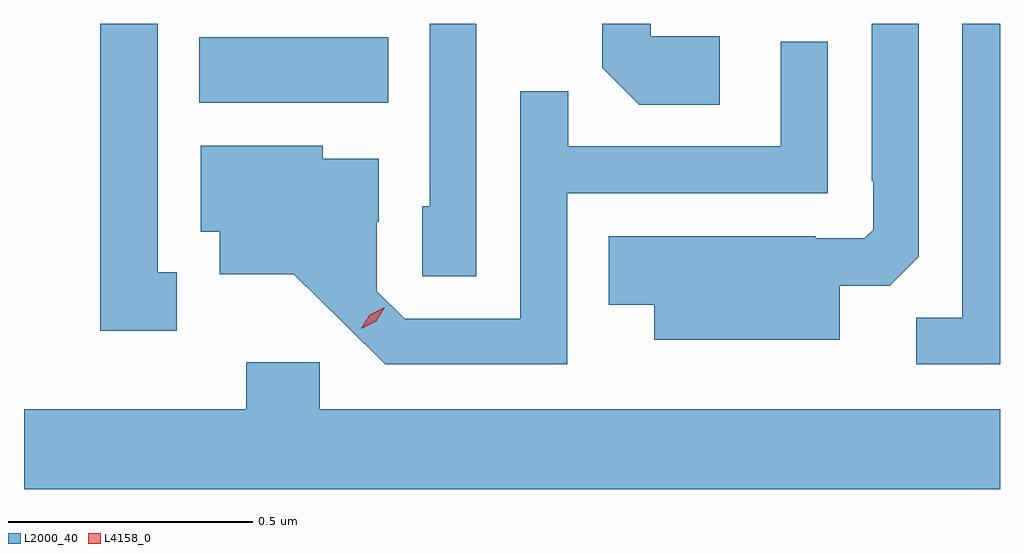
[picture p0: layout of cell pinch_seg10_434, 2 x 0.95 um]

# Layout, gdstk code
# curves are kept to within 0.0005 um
import gdstk
lib = gdstk.Library(unit=1e-6, precision=1e-09)
def R(c, l, rs):  # rectangles x0, y0, x1, y1
    for r in rs: c.add(gdstk.rectangle(r[:2], r[2:], *l))
def P(c, l, *ps):  # polygons
    for p in ps: c.add(gdstk.Polygon(p, *l))
L2000_40 = (2000, 40)
L4158_0 = (4158, 0)

pinch_seg10_434 = lib.new_cell('pinch_seg10_434')
R(pinch_seg10_434, L2000_40, [(382.235,1293.116,382.622,1293.25)])
P(pinch_seg10_434, L2000_40, [(382.189,1292.769),(382.15,1292.769),(382.15,1293.278),(382.032,1293.278),(382.032,1292.649),(382.189,1292.649)],
  [(383.302,1293.252),(383.16,1293.252),(383.16,1293.278),(383.061,1293.278),(383.061,1293.188),(383.137,1293.112),(383.302,1293.112)],
  [(383.548,1292.741),(383.65,1292.741),(383.709,1292.8),(383.709,1293.278),(383.613,1293.278),(383.613,1292.956),(383.616,1292.956),(383.616,1292.856),(383.598,1292.838),(383.498,1292.838),(383.498,1292.842),(383.074,1292.842),(383.074,1292.702),(383.168,1292.702),(383.168,1292.63),(383.548,1292.63)],
  [(383.876,1293.278),(383.799,1293.278),(383.799,1292.675),(383.704,1292.675),(383.704,1292.58),(383.876,1292.58)],
  [(382.803,1293.278),(382.707,1293.278),(382.707,1292.904),(382.692,1292.904),(382.692,1292.761),(382.803,1292.761)],
  [(382.989,1292.931),(383.523,1292.931),(383.523,1293.241),(383.427,1293.241),(383.427,1293.027),(382.991,1293.027),(382.991,1293.14),(382.893,1293.14),(382.893,1292.673),(382.656,1292.673),(382.599,1292.73),(382.599,1292.872),(382.603,1292.872),(382.603,1293.001),(382.488,1293.001),(382.488,1293.028),(382.238,1293.028),(382.238,1292.852),(382.277,1292.852),(382.277,1292.765),(382.429,1292.765),(382.616,1292.58),(382.989,1292.58)],
  [(383.876,1292.488),(382.482,1292.488),(382.482,1292.584),(382.331,1292.584),(382.331,1292.488),(381.876,1292.488),(381.876,1292.324),(383.876,1292.324)])
P(pinch_seg10_434, L4158_0, [(382.567,1292.653),(382.567,1292.654),(382.584,1292.682),(382.615,1292.697),(382.615,1292.697),(382.615,1292.697),(382.598,1292.668),(382.567,1292.653)])

lib.write_gds('pinch_seg10_434.gds')
